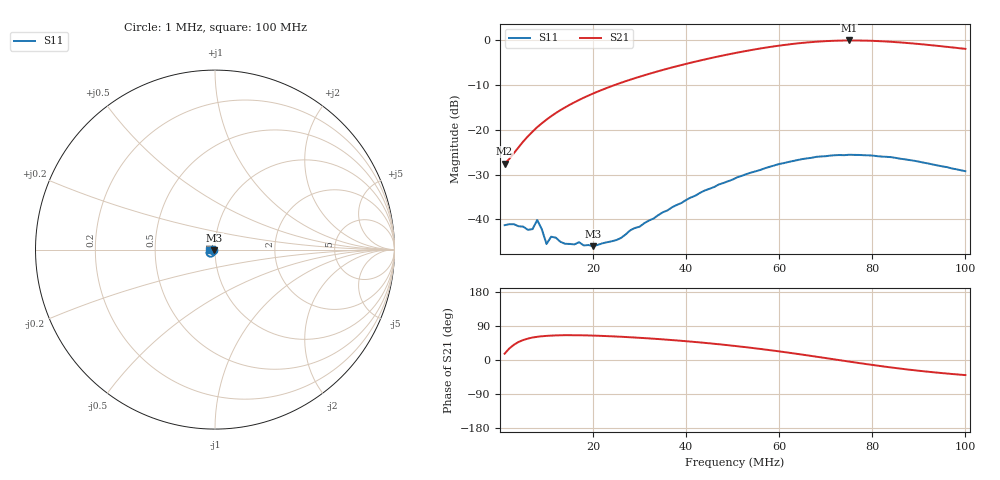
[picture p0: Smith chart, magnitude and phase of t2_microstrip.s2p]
# HZ S RI R 50
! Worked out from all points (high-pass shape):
!   100 points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, 1 MHz to 100 MHz, reference 50 ohm
!   highest |S21| = -0.06 dB at 75 MHz (marker M1); lowest = -27.5 dB at 1 MHz (marker M2)
!   |S21| within 3 dB of the highest: 49.59 MHz to end of sweep
!   lowest |S11| = -46.0 dB at 20 MHz (marker M3), VSWR 1.01, Z = 49.6 - j0.308 ohm
!   |S11| at or under -10 dB: start of sweep to end of sweep
!   S12 and S22 are empty: the file has one direction only
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1000001  -0.00863 0.00031  0.0403 0.0121  0 0  0 0
3000001  -0.00885 0.00026  0.0419 0.0356  0 0  0 0
7000001  -0.0078 0.0004  0.0487 0.0821  0 0  0 0
8000001  -0.00986 0.00039  0.0516 0.0938  0 0  0 0
9000001  -0.00736 0.00251  0.0544 0.105  0 0  0 0
1e7  -0.00532 0.000154  0.0578 0.1164  0 0  0 0
1.1e7  -0.00633 0.00109  0.0615 0.1279  0 0  0 0
1.4e7  -0.00534 -0.000464  0.0737 0.162  0 0  0 0
1.7e7  -0.00521 -0.00203  0.0901 0.1956  0 0  0 0
1.8e7  -0.00456 -0.00235  0.0963 0.2071  0 0  0 0
2e7  -0.00397 -0.0031  0.1097 0.229  0 0  0 0
2.6e7  -0.00235 -0.00576  0.1605 0.2938  0 0  0 0
2.8e7  -0.00216 -0.00727  0.1813 0.3141  0 0  0 0
3.4e7  -0.000976 -0.0111  0.2565 0.3708  0 0  0 0
4.3e7  -0.000701 -0.0198  0.4093 0.4292  0 0  0 0
5.1e7  -0.00448 -0.0293  0.5856 0.4309  0 0  0 0
5.9e7  -0.0147 -0.0374  0.7789 0.3527  0 0  0 0
6.7e7  -0.0294 -0.039  0.9368 0.1741  0 0  0 0
7.5e7  -0.0428 -0.0307  0.9907 -0.0718  0 0  0 0
8.4e7  -0.047 -0.0159  0.9042 -0.3217  0 0  0 0
9.1e7  -0.0426 -0.00657  0.7791 -0.4444  0 0  0 0
1e8  -0.0344 -0.00358  0.6147 -0.5123  0 0  0 0
